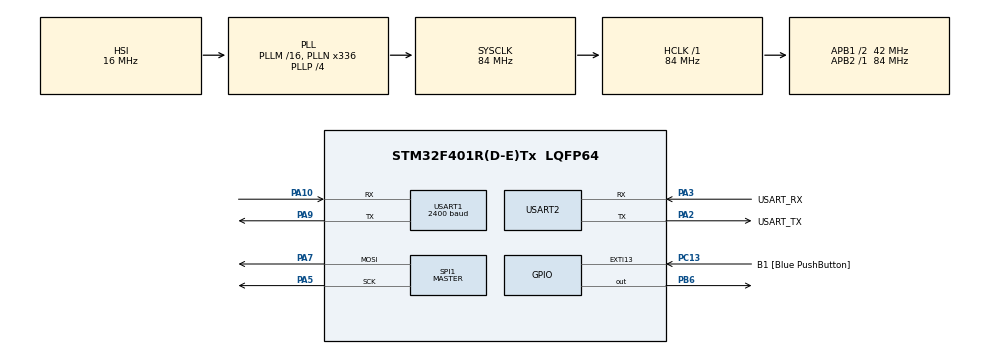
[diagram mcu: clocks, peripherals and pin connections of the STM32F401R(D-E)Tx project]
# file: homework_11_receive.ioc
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Dma.Request0=SPI1_TX
Dma.SPI1_TX.0.Direction=DMA_MEMORY_TO_PERIPH
Dma.SPI1_TX.0.FIFOMode=DMA_FIFOMODE_DISABLE
Dma.SPI1_TX.0.Instance=DMA2_Stream3
Dma.SPI1_TX.0.MemDataAlignment=DMA_MDATAALIGN_BYTE
Dma.SPI1_TX.0.MemInc=DMA_MINC_ENABLE
Dma.SPI1_TX.0.Mode=DMA_NORMAL
Dma.SPI1_TX.0.PeriphDataAlignment=DMA_PDATAALIGN_BYTE
Dma.SPI1_TX.0.PeriphInc=DMA_PINC_DISABLE
Dma.SPI1_TX.0.Priority=DMA_PRIORITY_LOW
Mcu.Family=STM32F4
Mcu.Name=STM32F401R(D-E)Tx
Mcu.Package=LQFP64
NVIC.DMA2_Stream3_IRQn=true\:0\:0\:false\:false\:true\:false\:true\:true
NVIC.PriorityGroup=NVIC_PRIORITYGROUP_0
NVIC.TIM1_UP_TIM10_IRQn=true\:0\:0\:false\:false\:true\:true\:true\:true
NVIC.USART1_IRQn=true\:0\:0\:false\:false\:true\:true\:true\:true
NVIC.USART2_IRQn=true\:0\:0\:false\:false\:true\:true\:true\:true
PA10.Mode=Asynchronous
PA10.Signal=USART1_RX
PA13.GPIO_Label=TMS
PA13.Mode=Serial_Wire
PA13.Signal=SYS_JTMS-SWDIO
PA14.GPIO_Label=TCK
PA14.Mode=Serial_Wire
PA14.Signal=SYS_JTCK-SWCLK
PA2.GPIO_Label=USART_TX
PA2.GPIO_Mode=GPIO_MODE_AF_PP
PA2.GPIO_PuPd=GPIO_NOPULL
PA2.GPIO_Speed=GPIO_SPEED_FREQ_LOW
PA2.Mode=Asynchronous
PA2.Signal=USART2_TX
PA3.GPIO_Label=USART_RX
PA3.GPIO_Mode=GPIO_MODE_AF_PP
PA3.GPIO_PuPd=GPIO_NOPULL
PA3.GPIO_Speed=GPIO_SPEED_FREQ_LOW
PA3.Mode=Asynchronous
PA3.Signal=USART2_RX
PA5.Mode=TX_Only_Simplex_Unidirect_Master
PA5.Signal=SPI1_SCK
PA7.Mode=TX_Only_Simplex_Unidirect_Master
PA7.Signal=SPI1_MOSI
PA9.Mode=Asynchronous
PA9.Signal=USART1_TX
PB3.GPIO_Label=SWO
PB3.Signal=SYS_JTDO-SWO
PB6.Signal=GPIO_Output
PC13-ANTI_TAMP.GPIO_Label=B1 [Blue PushButton]
PC13-ANTI_TAMP.GPIO_ModeDefaultEXTI=GPIO_MODE_IT_FALLING
PC13-ANTI_TAMP.GPIO_PuPd=GPIO_NOPULL
PC13-ANTI_TAMP.Signal=GPXTI13
PC14-OSC32_IN.Mode=LSE-External-Oscillator
PC14-OSC32_IN.Signal=RCC_OSC32_IN
PC15-OSC32_OUT.Mode=LSE-External-Oscillator
PC15-OSC32_OUT.Signal=RCC_OSC32_OUT
PH0\ -\ OSC_IN.Mode=HSE-External-Clock-Source
PH0\ -\ OSC_IN.Signal=RCC_OSC_IN
PH1\ -\ OSC_OUT.Mode=HSE-External-Clock-Source
PH1\ -\ OSC_OUT.Signal=RCC_OSC_OUT
ProjectManager.HeapSize=0x200
ProjectManager.StackSize=0x400
ProjectManager.TargetToolchain=STM32CubeIDE
RCC.48MHZClocksFreq_Value=48000000
RCC.AHBFreq_Value=84000000
RCC.APB1CLKDivider=RCC_HCLK_DIV2
RCC.APB1Freq_Value=42000000
RCC.APB1TimFreq_Value=84000000
RCC.APB2Freq_Value=84000000
RCC.APB2TimFreq_Value=84000000
RCC.CortexFreq_Value=84000000
RCC.HCLKFreq_Value=84000000
RCC.HSE_VALUE=8000000
RCC.HSI_VALUE=16000000
RCC.PLLN=336
RCC.PLLP=RCC_PLLP_DIV4
RCC.PLLQ=7
RCC.SYSCLKFreq_VALUE=84000000
RCC.SYSCLKSource=RCC_SYSCLKSOURCE_PLLCLK
RCC.VCOOutputFreq_Value=336000000
SPI1.BaudRatePrescaler=SPI_BAUDRATEPRESCALER_4
SPI1.Direction=SPI_DIRECTION_2LINES
SPI1.Mode=SPI_MODE_MASTER
SPI1.VirtualType=VM_MASTER
TIM10.Period=3999
TIM10.Prescaler=83
USART1.BaudRate=2400
USART1.Mode=MODE_RX
USART1.VirtualMode=VM_ASYNC
USART2.VirtualMode=VM_ASYNC
VP_TIM10_VS_ClockSourceINT.Mode=Enable_Timer
board=NUCLEO-F401RE

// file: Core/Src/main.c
/* USER CODE BEGIN Header */
/**
  ******************************************************************************
  * @file           : main.c
  * @brief          : Main program body
  ******************************************************************************
  * @attention
  *
  * Copyright (c) 2022 STMicroelectronics.
  * All rights reserved.
  *
  * This software is licensed under terms that can be found in the LICENSE file
  * in the root directory of this software component.
  * If no LICENSE file comes with this software, it is provided AS-IS.
  *
  ******************************************************************************
  */
/* USER CODE END Header */
#include "main.h"

SPI_HandleTypeDef hspi1;
DMA_HandleTypeDef hdma_spi1_tx;

TIM_HandleTypeDef htim10;

UART_HandleTypeDef huart1;
UART_HandleTypeDef huart2;

void SystemClock_Config(void);
static void MX_GPIO_Init(void);
static void MX_DMA_Init(void);
static void MX_USART2_UART_Init(void);
static void MX_USART1_UART_Init(void);
static void MX_SPI1_Init(void);
static void MX_TIM10_Init(void);

/* USER CODE BEGIN 0 */
// Output pin for the SS
#define RCLK_PIN GPIOB, GPIO_PIN_6
// Data, which should be received
char RX_data = 0;
// Storing the data
char command = 0;
// A flag to show if we have received data
uint8_t RX_flag = 0;
// Index, showing which coloumn in the LED to light up
uint8_t index = 0;
// Making sure that the character can be lighten up by the index
uint8_t matrix[5][2] = {{0, 16}, {0, 8}, {0, 4}, {0, 2}, {0, 1}};

// Every possible characters, we want to ligth up with the corresponding data we receive
uint8_t matrix_0[5][2] = {{62, 16}, {113, 8}, {73, 4}, {71, 2}, {62, 1}};
uint8_t matrix_1[5][2] = {{33, 16}, {65, 8}, {127, 4}, {1, 2}, {1, 1}};
uint8_t matrix_2[5][2] = {{35, 16}, {69, 8}, {73, 4}, {81, 2}, {33, 1}};
uint8_t matrix_3[5][2] = {{73, 16}, {73, 8}, {73, 4}, {73, 2}, {54, 1}};
uint8_t matrix_4[5][2] = {{120, 16}, {8, 8}, {8, 4}, {127, 2}, {8, 1}};
uint8_t matrix_5[5][2] = {{121, 16}, {73, 8}, {73, 4}, {73, 2}, {70, 1}};
uint8_t matrix_6[5][2] = {{62, 16}, {73, 8}, {73, 4}, {73, 2}, {70, 1}};
uint8_t matrix_7[5][2] = {{64, 16}, {64, 8}, {67, 4}, {76, 2}, {112, 1}};
uint8_t matrix_8[5][2] = {{54, 16}, {73, 8}, {73, 4}, {73, 2}, {54, 1}};
uint8_t matrix_9[5][2] = {{48, 16}, {72, 8}, {72, 4}, {72, 2}, {127, 1}};
uint8_t matrix_A[5][2] = {{31, 16}, {36, 8}, {68, 4}, {36, 2}, {31, 1}};
uint8_t matrix_B[5][2] = {{127, 16}, {73, 8}, {73, 4}, {73, 2}, {54, 1}};
uint8_t matrix_C[5][2] = {{62, 16}, {65, 8}, {65, 4}, {65, 2}, {34, 1}};
uint8_t matrix_D[5][2] = {{127, 16}, {65, 8}, {65, 4}, {65, 2}, {62, 1}};
uint8_t matrix_E[5][2] = {{127, 16}, {73, 8}, {73, 4}, {73, 2}, {65, 1}};
uint8_t matrix_F[5][2] = {{127, 16}, {72, 8}, {72, 4}, {72, 2}, {64, 1}};

void HAL_UART_RxCpltCallback (UART_HandleTypeDef *huart) {
	// We receive the data, that the other group have transmitted
	HAL_UART_Receive_IT(&huart1, &RX_data, sizeof(RX_data));	//Change to &huart2 and use putty for debugging
	command = RX_data;
	// We acknowledge that we have received a byte form UART
	RX_flag = 1;
}

void HAL_TIM_PeriodElapsedCallback(TIM_HandleTypeDef* calling_timer){
	if(calling_timer == &htim10) {
		// Transmit the letter and column, which should be lighten up every 4 ms
		HAL_SPI_Transmit_DMA(&hspi1, matrix[index], 2);
	}
}

void HAL_SPI_TxCpltCallback(SPI_HandleTypeDef* calling_SPI){
	if(calling_SPI == &hspi1){
		// Setting the SS pin
		HAL_GPIO_WritePin(GPIOB, GPIO_PIN_6, GPIO_PIN_SET);
		// Increment the index
		index++;
		// Resetting index for index higher than 4
		if(index > 4){
			index = 0;
		}
		// Resetting the SS pin
		HAL_GPIO_WritePin(GPIOB, GPIO_PIN_6, GPIO_PIN_RESET);
	}
}

/* USER CODE END 0 */

int main(void)
{

  /* MCU Configuration--------------------------------------------------------*/

  /* Reset of all peripherals, Initializes the Flash interface and the Systick. */
  HAL_Init();

  /* Configure the system clock */
  SystemClock_Config();

  /* Initialize all configured peripherals */
  MX_GPIO_Init();
  MX_DMA_Init();
  MX_USART2_UART_Init();
  MX_USART1_UART_Init();
  MX_SPI1_Init();
  MX_TIM10_Init();
  /* USER CODE BEGIN 2 */
  // We start the receiving interrupt
  HAL_UART_Receive_IT(&huart1, &RX_data, sizeof(RX_data));	//Change to &huart2 and use putty for debugging
  // We start the timer
  HAL_TIM_Base_Start_IT(&htim10);
  /* USER CODE END 2 */

  /* Infinite loop */
  while (1)
  {

    /* USER CODE BEGIN 3 */
	  if(RX_flag == 1) {
		  // The matrix, which should be send to the LED matrix is chosen with the corresponding character
		  switch(command) {
		  	  case '0':
		  		  memcpy(matrix, matrix_0, sizeof(matrix));
		  		  break;
		  	  case '1':
		  		  memcpy(matrix, matrix_1, sizeof(matrix));
		  		  break;
		  	  case '2':
		  		  memcpy(matrix, matrix_2, sizeof(matrix));
		  		  break;
		  	  case '3':
		  		  memcpy(matrix, matrix_3, sizeof(matrix));
		  		  break;
		  	  case '4':
		  		  memcpy(matrix, matrix_4, sizeof(matrix));
		  		  break;
		  	  case '5':
		  		  memcpy(matrix, matrix_5, sizeof(matrix));
		  		  break;
		  	  case '6':
		  		  memcpy(matrix, matrix_6, sizeof(matrix));
		  		  break;
		  	  case '7':
		  		  memcpy(matrix, matrix_7, sizeof(matrix));
		  		  break;
		  	  case '8':
		  		  memcpy(matrix, matrix_8, sizeof(matrix));
		  		  break;
		  	  case '9':
		  		  memcpy(matrix, matrix_9, sizeof(matrix));
		  		  break;
		  	  case 'A':
		  		  memcpy(matrix, matrix_A, sizeof(matrix));
		  		  break;
		  	  case 'B':
		  		  memcpy(matrix, matrix_B, sizeof(matrix));
		  		  break;
		  	  case 'C':
		  		  memcpy(matrix, matrix_C, sizeof(matrix));
		  		  break;
		  	  case 'D':
		  		  memcpy(matrix, matrix_D, sizeof(matrix));
		  		  break;
		  	  case 'E':
		  		  memcpy(matrix, matrix_E, sizeof(matrix));
		  		  break;
		  	  case 'F':
		  		  memcpy(matrix, matrix_F, sizeof(matrix));
		  		  break;
		  }
		  // We reset the ackowledgement of the data
		  RX_flag = 0;
	  }
  }
  /* USER CODE END 3 */
}

void SystemClock_Config(void)
{
  RCC_OscInitTypeDef RCC_OscInitStruct = {0};
  RCC_ClkInitTypeDef RCC_ClkInitStruct = {0};

  /** Configure the main internal regulator output voltage
  */
  __HAL_RCC_PWR_CLK_ENABLE();
  __HAL_PWR_VOLTAGESCALING_CONFIG(PWR_REGULATOR_VOLTAGE_SCALE2);

  /** Initializes the RCC Oscillators according to the specified parameters
  * in the RCC_OscInitTypeDef structure.
  */
  RCC_OscInitStruct.OscillatorType = RCC_OSCILLATORTYPE_HSI;
  RCC_OscInitStruct.HSIState = RCC_HSI_ON;
  RCC_OscInitStruct.HSICalibrationValue = RCC_HSICALIBRATION_DEFAULT;
  RCC_OscInitStruct.PLL.PLLState = RCC_PLL_ON;
  RCC_OscInitStruct.PLL.PLLSource = RCC_PLLSOURCE_HSI;
  RCC_OscInitStruct.PLL.PLLM = 16;
  RCC_OscInitStruct.PLL.PLLN = 336;
  RCC_OscInitStruct.PLL.PLLP = RCC_PLLP_DIV4;
  RCC_OscInitStruct.PLL.PLLQ = 7;
  if (HAL_RCC_OscConfig(&RCC_OscInitStruct) != HAL_OK)
  {
    Error_Handler();
  }

  /** Initializes the CPU, AHB and APB buses clocks
  */
  RCC_ClkInitStruct.ClockType = RCC_CLOCKTYPE_HCLK|RCC_CLOCKTYPE_SYSCLK
                              |RCC_CLOCKTYPE_PCLK1|RCC_CLOCKTYPE_PCLK2;
  RCC_ClkInitStruct.SYSCLKSource = RCC_SYSCLKSOURCE_PLLCLK;
  RCC_ClkInitStruct.AHBCLKDivider = RCC_SYSCLK_DIV1;
  RCC_ClkInitStruct.APB1CLKDivider = RCC_HCLK_DIV2;
  RCC_ClkInitStruct.APB2CLKDivider = RCC_HCLK_DIV1;

  if (HAL_RCC_ClockConfig(&RCC_ClkInitStruct, FLASH_LATENCY_2) != HAL_OK)
  {
    Error_Handler();
  }
}

static void MX_SPI1_Init(void)
{

  /* SPI1 parameter configuration*/
  hspi1.Instance = SPI1;
  hspi1.Init.Mode = SPI_MODE_MASTER;
  hspi1.Init.Direction = SPI_DIRECTION_2LINES;
  hspi1.Init.DataSize = SPI_DATASIZE_8BIT;
  hspi1.Init.CLKPolarity = SPI_POLARITY_LOW;
  hspi1.Init.CLKPhase = SPI_PHASE_1EDGE;
  hspi1.Init.NSS = SPI_NSS_SOFT;
  hspi1.Init.BaudRatePrescaler = SPI_BAUDRATEPRESCALER_4;
  hspi1.Init.FirstBit = SPI_FIRSTBIT_MSB;
  hspi1.Init.TIMode = SPI_TIMODE_DISABLE;
  hspi1.Init.CRCCalculation = SPI_CRCCALCULATION_DISABLE;
  hspi1.Init.CRCPolynomial = 10;
  if (HAL_SPI_Init(&hspi1) != HAL_OK)
  {
    Error_Handler();
  }

}

static void MX_TIM10_Init(void)
{

  htim10.Instance = TIM10;
  htim10.Init.Prescaler = 83;
  htim10.Init.CounterMode = TIM_COUNTERMODE_UP;
  htim10.Init.Period = 3999;
  htim10.Init.ClockDivision = TIM_CLOCKDIVISION_DIV1;
  htim10.Init.AutoReloadPreload = TIM_AUTORELOAD_PRELOAD_DISABLE;
  if (HAL_TIM_Base_Init(&htim10) != HAL_OK)
  {
    Error_Handler();
  }

}

static void MX_USART1_UART_Init(void)
{

  huart1.Instance = USART1;
  huart1.Init.BaudRate = 2400;
  huart1.Init.WordLength = UART_WORDLENGTH_8B;
  huart1.Init.StopBits = UART_STOPBITS_1;
  huart1.Init.Parity = UART_PARITY_NONE;
  huart1.Init.Mode = UART_MODE_RX;
  huart1.Init.HwFlowCtl = UART_HWCONTROL_NONE;
  huart1.Init.OverSampling = UART_OVERSAMPLING_16;
  if (HAL_UART_Init(&huart1) != HAL_OK)
  {
    Error_Handler();
  }

}

static void MX_USART2_UART_Init(void)
{

  huart2.Instance = USART2;
  huart2.Init.BaudRate = 115200;
  huart2.Init.WordLength = UART_WORDLENGTH_8B;
  huart2.Init.StopBits = UART_STOPBITS_1;
  huart2.Init.Parity = UART_PARITY_NONE;
  huart2.Init.Mode = UART_MODE_TX_RX;
  huart2.Init.HwFlowCtl = UART_HWCONTROL_NONE;
  huart2.Init.OverSampling = UART_OVERSAMPLING_16;
  if (HAL_UART_Init(&huart2) != HAL_OK)
  {
    Error_Handler();
  }

}

static void MX_DMA_Init(void)
{

  /* DMA controller clock enable */
  __HAL_RCC_DMA2_CLK_ENABLE();

  /* DMA interrupt init */
  /* DMA2_Stream3_IRQn interrupt configuration */
  HAL_NVIC_SetPriority(DMA2_Stream3_IRQn, 0, 0);
  HAL_NVIC_EnableIRQ(DMA2_Stream3_IRQn);

}

static void MX_GPIO_Init(void)
{
  GPIO_InitTypeDef GPIO_InitStruct = {0};

  /* GPIO Ports Clock Enable */
  __HAL_RCC_GPIOC_CLK_ENABLE();
  __HAL_RCC_GPIOH_CLK_ENABLE();
  __HAL_RCC_GPIOA_CLK_ENABLE();
  __HAL_RCC_GPIOB_CLK_ENABLE();

  /*Configure GPIO pin Output Level */
  HAL_GPIO_WritePin(GPIOB, GPIO_PIN_6, GPIO_PIN_RESET);

  /*Configure GPIO pin : B1_Pin */
  GPIO_InitStruct.Pin = B1_Pin;
  GPIO_InitStruct.Mode = GPIO_MODE_IT_FALLING;
  GPIO_InitStruct.Pull = GPIO_NOPULL;
  HAL_GPIO_Init(B1_GPIO_Port, &GPIO_InitStruct);

  /*Configure GPIO pin : PB6 */
  GPIO_InitStruct.Pin = GPIO_PIN_6;
  GPIO_InitStruct.Mode = GPIO_MODE_OUTPUT_PP;
  GPIO_InitStruct.Pull = GPIO_NOPULL;
  GPIO_InitStruct.Speed = GPIO_SPEED_FREQ_LOW;
  HAL_GPIO_Init(GPIOB, &GPIO_InitStruct);

}

void Error_Handler(void)
{
  __disable_irq();
  while (1)
  {
  }
}
